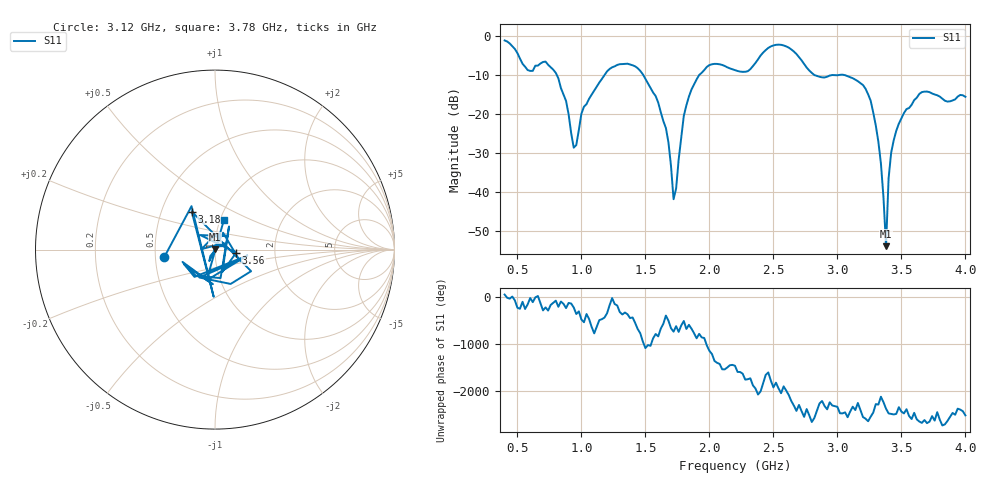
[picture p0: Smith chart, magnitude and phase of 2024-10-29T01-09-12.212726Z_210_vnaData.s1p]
!Created with skrf (http://scikit-rf.org).
# Hz S RI R 50.0
!freq ReS11 ImS11
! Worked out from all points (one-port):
!   181 points, 400 MHz to 4 GHz, reference 50 ohm
!   lowest |S11| = -53.8 dB at 3.38 GHz (marker M1), VSWR 1.00, Z = 49.8 + j0.112 ohm
!   |S11| at or under -10 dB: 807.4 MHz to 1.181 GHz (374.1 MHz wide, 37.6 % of centre); 1.483 GHz to 1.921 GHz (438.4 MHz wide, 25.8 % of centre); 3.049 GHz to end of sweep (the widest 3 of 4)
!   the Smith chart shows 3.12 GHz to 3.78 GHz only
!   S11 on the Smith chart (normalised r, x): 3.12 GHz: 0.56, -0.05; 3.18 GHz: 0.71, +0.32; 3.56 GHz: 1.27, -0.04; 3.78 GHz: 1.04, +0.36
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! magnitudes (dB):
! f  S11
! 400 MHz  -1.2
! 580 MHz  -8.8
! 720 MHz  -6.6
! 860 MHz  -15.0
! 940 MHz  -28.6
! 1.02 GHz  -18.1
! 1.3 GHz  -7.3
! 1.58 GHz  -15.4
! 1.68 GHz  -27.2
! 1.72 GHz  -41.8
! 1.76 GHz  -31.6
! 1.8 GHz  -20.5
! 1.92 GHz  -10.0
! 2.2 GHz  -8.8
! 2.66 GHz  -4.0
! 2.82 GHz  -10.0
! 3.1 GHz  -10.6
! 3.12 GHz  -10.9
! 3.18 GHz  -12.1
! 3.26 GHz  -16.6
! 3.32 GHz  -27.1
! 3.36 GHz  -41.3
! 3.38 GHz  -53.8
! 3.4 GHz  -36.4
! 3.42 GHz  -29.9
! 3.56 GHz  -18.5
! 3.78 GHz  -15.2
! 4 GHz  -15.6
